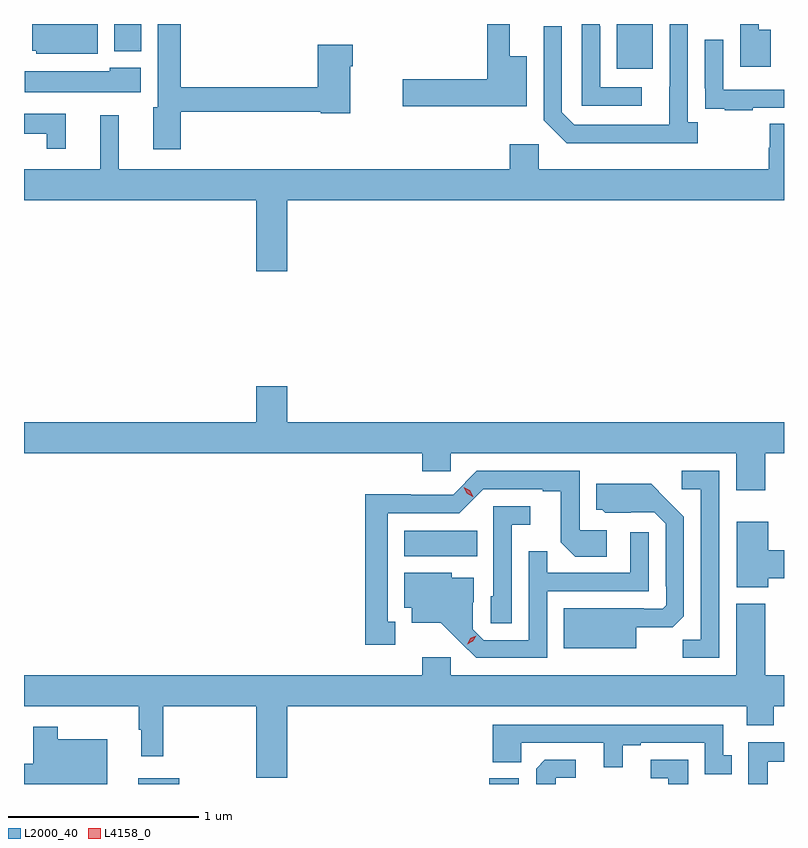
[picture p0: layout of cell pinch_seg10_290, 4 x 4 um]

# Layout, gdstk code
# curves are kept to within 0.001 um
import gdstk
lib = gdstk.Library(unit=1e-6, precision=1e-09)
def R(c, l, rs):  # rectangles x0, y0, x1, y1
    for r in rs: c.add(gdstk.rectangle(r[:2], r[2:], *l))
def P(c, l, *ps):  # polygons
    for p in ps: c.add(gdstk.Polygon(p, *l))
L2000_40 = (2000, 40)
L4158_0 = (4158, 0)

pinch_seg10_290 = lib.new_cell('pinch_seg10_290')
R(pinch_seg10_290, L2000_40, [(416.135,1294.58,416.35,1294.609), (417.983,1294.58,418.138,1294.609), (417.536,1295.78,417.92,1295.914), (418.655,1298.345,418.843,1298.58), (416.01,1298.436,416.152,1298.58)])
P(pinch_seg10_290, L2000_40, [(415.921,1298.58),(415.577,1298.58),(415.577,1298.439),(415.599,1298.439),(415.599,1298.423),(415.921,1298.423)],
  [(419.08,1298.062),(419.028,1298.062),(419.028,1298.58),(418.932,1298.58),(418.931,1298.049),(418.431,1298.049),(418.365,1298.115),(418.365,1298.569),(418.269,1298.569),(418.269,1298.073),(418.39,1297.952),(419.08,1297.952)],
  [(418.18,1298.41),(418.091,1298.41),(418.091,1298.58),(417.973,1298.58),(417.973,1298.288),(417.528,1298.288),(417.528,1298.146),(418.18,1298.146)],
  [(419.464,1298.551),(419.401,1298.551),(419.401,1298.58),(419.303,1298.58),(419.303,1298.355),(419.464,1298.355)],
  [(418.786,1298.247),(418.566,1298.247),(418.566,1298.567),(418.563,1298.567),(418.563,1298.58),(418.47,1298.58),(418.47,1298.151),(418.786,1298.151)],
  [(416.36,1298.118),(417.096,1298.118),(417.096,1298.11),(417.25,1298.11),(417.25,1298.357),(417.263,1298.357),(417.263,1298.47),(417.08,1298.47),(417.08,1298.246),(416.36,1298.246),(416.36,1298.58),(416.237,1298.58),(416.237,1298.142),(416.213,1298.142),(416.213,1297.92),(416.36,1297.92)],
  [(419.369,1298.139),(419.534,1298.139),(419.534,1298.235),(419.214,1298.235),(419.214,1298.497),(419.118,1298.497),(419.118,1298.242),(419.119,1298.242),(419.119,1298.133),(419.221,1298.133),(419.221,1298.127),(419.369,1298.127)],
  [(416.149,1298.35),(415.986,1298.35),(415.986,1298.332),(415.538,1298.332),(415.538,1298.222),(416.149,1298.222)],
  [(415.754,1298.107),(415.534,1298.107),(415.534,1298.003),(415.655,1298.003),(415.655,1297.923),(415.754,1297.923)],
  [(416.92,1297.652),(419.534,1297.652),(419.534,1298.054),(419.458,1298.054),(419.458,1297.929),(419.453,1297.929),(419.453,1297.816),(418.242,1297.816),(418.242,1297.948),(418.091,1297.948),(418.091,1297.816),(416.033,1297.816),(416.033,1298.101),(415.934,1298.101),(415.934,1297.816),(415.534,1297.816),(415.534,1297.652),(416.756,1297.652),(416.756,1297.278),(416.92,1297.278)],
  [(419.435,1296.32),(419.534,1296.32),(419.534,1296.484),(416.92,1296.484),(416.92,1296.673),(416.756,1296.673),(416.756,1296.484),(415.534,1296.484),(415.534,1296.32),(417.629,1296.32),(417.629,1296.227),(417.78,1296.227),(417.78,1296.32),(419.282,1296.32),(419.282,1296.126),(419.435,1296.126)],
  [(419.193,1296.228),(418.995,1296.228),(418.995,1296.132),(419.097,1296.132),(419.097,1295.339),(419.002,1295.339),(419.002,1295.244),(419.193,1295.244)],
  [(417.487,1295.433),(417.448,1295.433),(417.448,1296.006),(417.825,1296.006),(417.951,1296.132),(418.265,1296.132),(418.265,1296.12),(418.359,1296.12),(418.359,1295.852),(418.435,1295.776),(418.6,1295.776),(418.6,1295.916),(418.458,1295.916),(418.458,1296.228),(417.918,1296.228),(417.792,1296.102),(417.57,1296.102),(417.57,1296.104),(417.33,1296.104),(417.33,1295.313),(417.487,1295.313)],
  [(418.756,1295.405),(418.948,1295.405),(419.007,1295.464),(419.007,1295.986),(418.835,1296.16),(418.547,1296.16),(418.547,1296.024),(418.578,1296.024),(418.594,1296.008),(418.851,1296.009),(418.911,1295.949),(418.911,1295.62),(418.914,1295.62),(418.914,1295.52),(418.896,1295.502),(418.796,1295.502),(418.796,1295.506),(418.376,1295.506),(418.376,1295.294),(418.756,1295.294)],
  [(418.101,1295.945),(418.198,1295.945),(418.198,1296.042),(418.005,1296.042),(418.005,1295.568),(417.99,1295.568),(417.99,1295.425),(418.101,1295.425)],
  [(419.452,1295.663),(419.534,1295.663),(419.534,1295.81),(419.452,1295.81),(419.452,1295.959),(419.285,1295.959),(419.285,1295.615),(419.452,1295.615)],
  [(418.287,1295.595),(418.821,1295.595),(418.821,1295.905),(418.725,1295.905),(418.725,1295.691),(418.289,1295.691),(418.289,1295.804),(418.191,1295.804),(418.191,1295.337),(417.954,1295.337),(417.897,1295.394),(417.897,1295.536),(417.901,1295.536),(417.901,1295.665),(417.786,1295.665),(417.786,1295.692),(417.536,1295.692),(417.536,1295.508),(417.575,1295.508),(417.575,1295.429),(417.727,1295.429),(417.914,1295.244),(418.287,1295.244)],
  [(416.92,1294.988),(419.339,1294.988),(419.339,1294.889),(419.479,1294.889),(419.479,1294.988),(419.534,1294.988),(419.534,1295.152),(419.435,1295.152),(419.435,1295.53),(419.282,1295.53),(419.282,1295.152),(417.78,1295.152),(417.78,1295.248),(417.629,1295.248),(417.629,1295.152),(415.534,1295.152),(415.534,1294.988),(416.139,1294.988),(416.139,1294.865),(416.15,1294.865),(416.15,1294.725),(416.267,1294.725),(416.267,1294.988),(416.756,1294.988),(416.756,1294.614),(416.92,1294.614)],
  [(419.26,1294.731),(419.214,1294.731),(419.214,1294.893),(418.001,1294.893),(418.001,1294.694),(418.152,1294.694),(418.152,1294.797),(418.586,1294.797),(418.586,1294.668),(418.684,1294.668),(418.684,1294.785),(418.78,1294.785),(418.78,1294.797),(419.118,1294.797),(419.118,1294.631),(419.26,1294.631)],
  [(415.972,1294.816),(415.711,1294.816),(415.711,1294.882),(415.582,1294.882),(415.582,1294.687),(415.534,1294.687),(415.534,1294.58),(415.972,1294.58)],
  [(419.449,1294.697),(419.534,1294.697),(419.534,1294.801),(419.345,1294.801),(419.345,1294.58),(419.449,1294.58)],
  [(418.333,1294.614),(418.438,1294.614),(418.438,1294.707),(418.276,1294.707),(418.23,1294.661),(418.23,1294.58),(418.333,1294.58)],
  [(419.029,1294.707),(418.833,1294.707),(418.833,1294.611),(418.925,1294.611),(418.925,1294.58),(419.029,1294.58)])
P(pinch_seg10_290, L4158_0, [(417.866,1295.315),(417.866,1295.315),(417.883,1295.346),(417.913,1295.361),(417.913,1295.361),(417.913,1295.361),(417.897,1295.331),(417.866,1295.315)],
  [(417.897,1296.092),(417.865,1296.11),(417.848,1296.143),(417.848,1296.143),(417.848,1296.143),(417.88,1296.125),(417.898,1296.092),(417.898,1296.092)])

lib.write_gds('pinch_seg10_290.gds')
